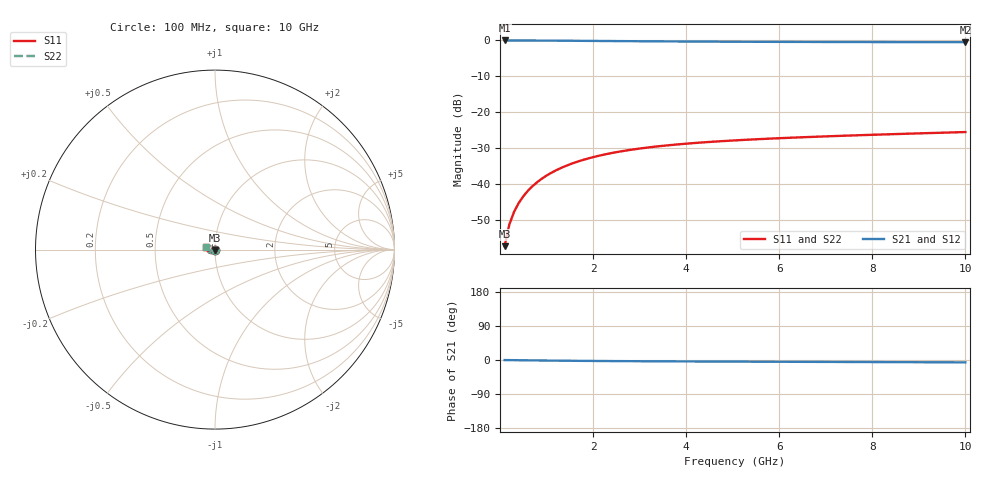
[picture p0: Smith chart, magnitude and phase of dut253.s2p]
! Touchstone file exported from HFSS 2024.1.0
!  File:  C:/UserFiles/LocalFiles/RDL_TSV_Batchsim/temp_TSV1_253_1779390673.aedt
!  Generated:  03:17:25 AM May 22, 2026
!  Design:  TSV1
!  Project:  temp_TSV1_253_1779390673
!  Setup:  Setup1
!  Solution:  Sweep
! Variables:
!  dtsv = 9.83um
!  hbump = 3um
!  htsv = 97.37um
!  lrdl = 252.1521522um
!  p = 40
!  p1 = 59.02um
!  t = 500um
!  trdl = 3um
!  wrdl = 24.89489489um
# GHz S MA R 50.000000
! Terminal data exported
! Port[1] = TSV22_T1
! Port[2] = TSV22_T2
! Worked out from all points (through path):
!   100 points, 100 MHz to 10 GHz, reference 50 ohm
!   highest |S21| = 0.00 dB at 100 MHz (marker M1); lowest = -0.5 dB at 10 GHz (marker M2)
!   lowest |S11| = -57.3 dB at 100 MHz (marker M3), VSWR 1.00, Z = 50 - j0.136 ohm
!   |S11| at or under -10 dB: start of sweep to end of sweep
!   |S22| runs from -57.3 to -25.5 dB; largest |S21 - S12| = 4.1e-15
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0.1  0.001361 -85.0  0.9998 -0.2  0.9998 -0.2  0.001361 -85.0
! Gamma 0 0 0 0
! Port Impedance 50 0 50 0
0.2  0.002706 -90.5  0.9996 -0.3  0.9996 -0.3  0.002706 -90.5
0.3  0.004052 -93.7  0.9994 -0.5  0.9994 -0.5  0.004052 -93.7
0.4  0.005392 -96.3  0.999 -0.6  0.999 -0.6  0.005392 -96.3
0.5  0.006721 -98.7  0.9985 -0.7  0.9985 -0.7  0.006721 -98.7
0.6  0.008035 -101.0  0.998 -0.9  0.998 -0.9  0.008035 -101.0
0.7  0.009332 -103.2  0.9974 -1.0  0.9974 -1.0  0.009332 -103.2
0.8  0.01061 -105.4  0.9967 -1.2  0.9967 -1.2  0.01061 -105.4
0.9  0.01186 -107.5  0.996 -1.3  0.996 -1.3  0.01186 -107.5
1.1  0.01428 -111.6  0.9943 -1.6  0.9943 -1.6  0.01428 -111.6
1.4  0.01769 -117.4  0.9914 -1.9  0.9914 -1.9  0.01769 -117.4
1.6  0.01981 -121.1  0.9894 -2.1  0.9894 -2.1  0.01981 -121.1
1.8  0.02179 -124.6  0.9872 -2.3  0.9872 -2.3  0.02179 -124.6
2.1  0.02453 -129.7  0.984 -2.6  0.984 -2.6  0.02453 -129.7
2.5  0.02775 -135.9  0.9797 -2.9  0.9797 -2.9  0.02775 -135.9
2.9  0.03053 -141.6  0.9757 -3.2  0.9757 -3.2  0.03053 -141.6
3.4  0.0335 -148.1  0.9712 -3.5  0.9712 -3.5  0.0335 -148.1
4.2  0.03731 -157.1  0.9651 -3.9  0.9651 -3.9  0.03731 -157.1
5.1  0.04068 -165.8  0.9597 -4.3  0.9597 -4.3  0.04068 -165.8
6.7  0.04532 -178.4  0.9531 -4.9  0.9531 -4.9  0.04532 -178.4
8.4  0.04938 170.9  0.9486 -5.6  0.9486 -5.6  0.04938 170.9
10  0.05293 162.5  0.9457 -6.3  0.9457 -6.3  0.05293 162.5
